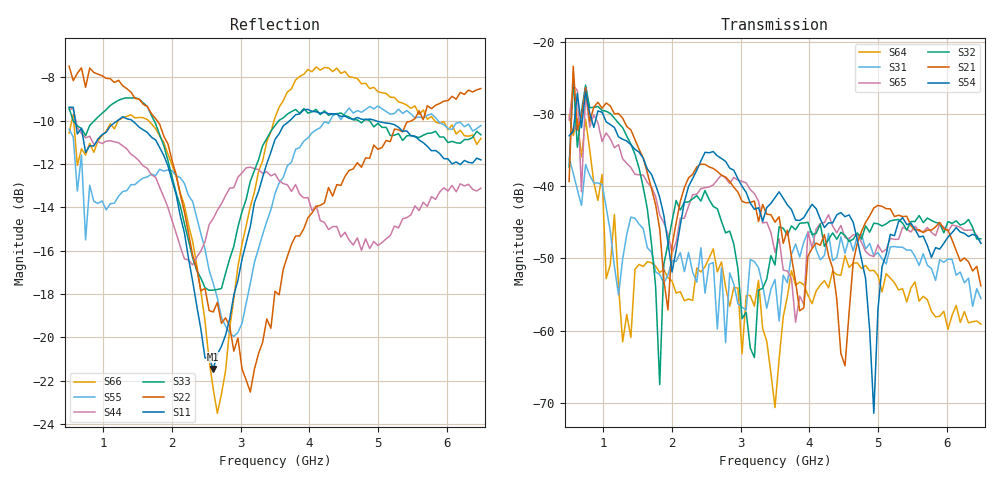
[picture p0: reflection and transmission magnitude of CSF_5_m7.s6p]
!Keysight Technologies,M9804A,MY58100912,A.14.10.03
!Date: Thursday, April 27, 2023 10:28:33
!Correction: S11(C  6-Port  )
!S12(C  6-Port  )
!S13(C  6-Port  )
!S14(C  6-Port  )
!S15(C  6-Port  )
!S16(C  6-Port  )
!S21(C  6-Port  )
!S22(C  6-Port  )
!S23(C  6-Port  )
!S24(C  6-Port  )
!S25(C  6-Port  )
!S26(C  6-Port  )
!S31(C  6-Port  )
!S32(C  6-Port  )
!S33(C  6-Port  )
!S34(C  6-Port  )
!S35(C  6-Port  )
!S36(C  6-Port  )
!S41(C  6-Port  )
!S42(C  6-Port  )
!S43(C  6-Port  )
!S44(C  6-Port  )
!S45(C  6-Port  )
!S46(C  6-Port  )
!S51(C  6-Port  )
!S52(C  6-Port  )
!S53(C  6-Port  )
!S54(C  6-Port  )
!S55(C  6-Port  )
!S56(C  6-Port  )
!S61(C  6-Port  )
!S62(C  6-Port  )
!S63(C  6-Port  )
!S64(C  6-Port  )
!S65(C  6-Port  )
!S66(C  6-Port  )
!S6P File: Measurement: :
# Hz S  RI  R 50
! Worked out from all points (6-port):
!   101 points, 500 MHz to 6.5 GHz, reference 50 ohm
!   strongest paths, dB at 500 MHz, 2 GHz, 3.5 GHz, 5 GHz, 6.5 GHz:
!     S54: -33.0, -51.9, -41.6, -57.1, -47.9
!     S21: -39.3, -48.2, -45.0, -42.6, -53.8
!     S32: -37.4, -44.8, -50.9, -45.2, -47.3
!     S65: -30.8, -49.3, -49.1, -48.1, -47.8
!     S31: -36.1, -50.3, -52.9, -49.2, -55.5
!     S64: -30.1, -53.1, -70.6, -52.4, -59.1
!   lowest |S11| = -21.5 dB at 2.6 GHz (marker M1), VSWR 1.18, Z = 42.5 + j2.18 ohm
!   |S11| at or under -10 dB: 590.3 MHz to 1.202 GHz (611.7 MHz wide, 68.3 % of centre); 1.421 GHz to 3.713 GHz (2.292 GHz wide, 89.3 % of centre); 4.971 GHz to end of sweep
